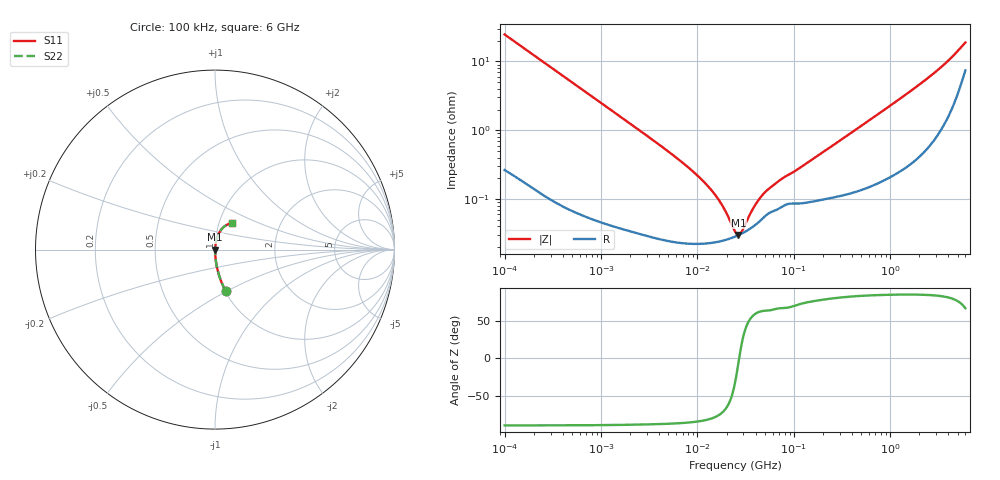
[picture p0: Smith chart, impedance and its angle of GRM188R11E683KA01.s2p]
!Murata Part Number: GRM188R11E683KA01
!These Parameters are Measured in Series Mode Connection
!Data Generated on Mar 30, 2021
!  o--ll--o
!Port1  Port2
!  o------o
!Operation Temp=25[degC], DC Bias Voltage=0[V]
!Freq. Start=100[kHz] Stop=6[GHz] 401[Steps]
# Hz S RI R 50
!Freq.(Hz) S11(Real) S11(Imag) S21(Real) S21(Imag) S12(Real) S12(Imag) S22(Real) S22(Imag)
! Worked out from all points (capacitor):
!   401 points, 100 kHz to 6 GHz, reference 50 ohm
!   read as one part in series: C = 64.5 nF near 105.7 kHz
!   lowest |Z| = 30.1 mohm at 26.6 MHz (marker M1)
!   series resonance near 27.05 MHz, so ESL is about 540 pH
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100000  0.0593 -0.2309  0.9407 0.2309  0.9407 0.2309  0.0593 -0.2309
234589  0.0122 -0.1041  0.9878 0.1041  0.9878 0.1041  0.0122 -0.1041
631452  0.00213 -0.0393  0.9979 0.0393  0.9979 0.0393  0.00213 -0.0393
3987316  0.000301 -0.00619  0.9997 0.00619  0.9997 0.00619  0.000301 -0.00619
8379264  0.000231 -0.00273  0.9998 0.00273  0.9998 0.00273  0.000231 -0.00273
1.337449e7  0.000231 -0.00143  0.9998 0.00143  0.9998 0.00143  0.000231 -0.00143
1.577428e7  0.000238 -0.00105  0.9998 0.00105  0.9998 0.00105  0.000238 -0.00105
1.809991e7  0.000248 -0.000766  0.9998 0.000766  0.9998 0.000766  0.000248 -0.000766
2.383034e7  0.00028 -0.000234  0.9997 0.000234  0.9997 0.000234  0.00028 -0.000234
2.517799e7  0.000289 -0.000132  0.9997 0.000132  0.9997 0.000132  0.000289 -0.000132
2.660184e7  0.000299 -3.04e-05  0.9997 3.04e-05  0.9997 3.04e-05  0.000299 -3.04e-05
2.889002e7  0.000316 0.000121  0.9997 -0.000121  0.9997 -0.000121  0.000316 0.000121
3.502398e7  0.00037 0.000473  0.9996 -0.000473  0.9996 -0.000473  0.00037 0.000473
4.018763e7  0.000425 0.000728  0.9996 -0.000728  0.9996 -0.000728  0.000425 0.000728
5.007898e7  0.000563 0.00112  0.9994 -0.00112  0.9994 -0.00112  0.000563 0.00112
7.565474e7  0.000781 0.00183  0.9992 -0.00183  0.9992 -0.00183  0.000781 0.00183
1.546735e8  0.000929 0.00365  0.9991 -0.00365  0.9991 -0.00365  0.000929 0.00365
9.76689e8  0.00253 0.0221  0.9975 -0.0221  0.9975 -0.0221  0.00253 0.0221
2.10973e9  0.00672 0.0481  0.9933 -0.0481  0.9933 -0.0481  0.00672 0.0481
3.557862e9  0.0189 0.0852  0.9811 -0.0852  0.9811 -0.0852  0.0189 0.0852
4.68428e9  0.0402 0.1177  0.9598 -0.1177  0.9598 -0.1177  0.0402 0.1177
6e9  0.0926 0.1461  0.9074 -0.1461  0.9074 -0.1461  0.0926 0.1461
